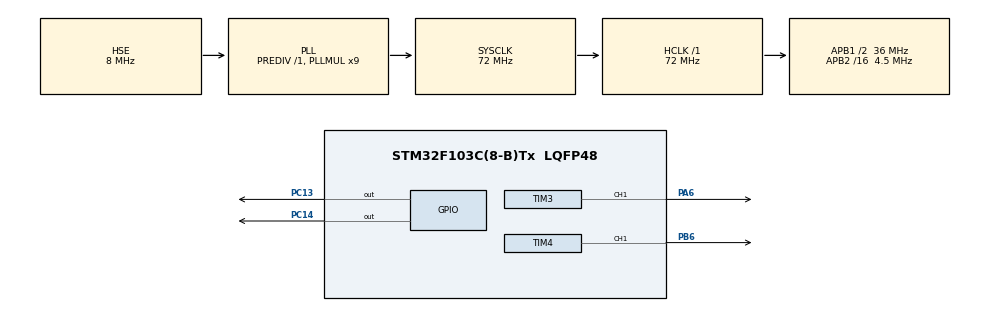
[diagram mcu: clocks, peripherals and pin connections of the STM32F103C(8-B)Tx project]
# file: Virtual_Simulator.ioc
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Mcu.Family=STM32F1
Mcu.Name=STM32F103C(8-B)Tx
Mcu.Package=LQFP48
NVIC.PriorityGroup=NVIC_PRIORITYGROUP_4
NVIC.TIM3_IRQn=true\:0\:0\:false\:false\:true\:true\:true\:true
NVIC.TIM4_IRQn=true\:0\:0\:false\:false\:true\:true\:true\:true
PA11.Signal=CAN_RX
PA12.Signal=CAN_TX
PA13.Mode=Serial_Wire
PA13.Signal=SYS_JTMS-SWDIO
PA14.Mode=Serial_Wire
PA14.Signal=SYS_JTCK-SWCLK
PA6.Signal=S_TIM3_CH1
PB6.Signal=S_TIM4_CH1
PC13-TAMPER-RTC.GPIO_ModeDefaultOutputPP=GPIO_MODE_OUTPUT_PP
PC13-TAMPER-RTC.GPIO_Speed=GPIO_SPEED_FREQ_HIGH
PC13-TAMPER-RTC.PinState=GPIO_PIN_SET
PC13-TAMPER-RTC.Signal=GPIO_Output
PC14-OSC32_IN.GPIO_Speed=GPIO_SPEED_FREQ_HIGH
PC14-OSC32_IN.PinState=GPIO_PIN_SET
PC14-OSC32_IN.Signal=GPIO_Output
PD0-OSC_IN.Mode=HSE-External-Oscillator
PD0-OSC_IN.Signal=RCC_OSC_IN
PD1-OSC_OUT.Mode=HSE-External-Oscillator
PD1-OSC_OUT.Signal=RCC_OSC_OUT
ProjectManager.HeapSize=0x200
ProjectManager.StackSize=0x400
ProjectManager.TargetToolchain=STM32CubeIDE
RCC.AHBFreq_Value=72000000
RCC.APB1CLKDivider=RCC_HCLK_DIV2
RCC.APB1Freq_Value=36000000
RCC.APB1TimFreq_Value=72000000
RCC.APB2CLKDivider=RCC_HCLK_DIV16
RCC.APB2Freq_Value=4500000
RCC.APB2TimFreq_Value=9000000
RCC.HCLKFreq_Value=72000000
RCC.PLLMUL=RCC_PLL_MUL9
RCC.PLLSourceVirtual=RCC_PLLSOURCE_HSE
RCC.SYSCLKFreq_VALUE=72000000
RCC.SYSCLKSource=RCC_SYSCLKSOURCE_PLLCLK
RCC.USBFreq_Value=72000000
SH.S_TIM3_CH1.0=TIM3_CH1,Output Compare1 CH1
SH.S_TIM4_CH1.0=TIM4_CH1,Output Compare1 CH1
TIM3.Channel-Output\ Compare1\ CH1=TIM_CHANNEL_1
TIM4.Channel-Output\ Compare1\ CH1=TIM_CHANNEL_1
VP_TIM3_VS_ClockSourceINT.Mode=Internal
VP_TIM4_VS_ClockSourceINT.Mode=Internal
board=custom

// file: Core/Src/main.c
/* USER CODE BEGIN Header */
/**
  ******************************************************************************
  * @file           : main.c
  * @brief          : Main program body
  ******************************************************************************
  * @attention
  *
  * <h2><center>&copy; Copyright (c) 2022 STMicroelectronics.
  * All rights reserved.</center></h2>
  *
  * This software component is licensed by ST under BSD 3-Clause license,
  * the "License"; You may not use this file except in compliance with the
  * License. You may obtain a copy of the License at:
  *                        opensource.org/licenses/BSD-3-Clause
  *
  ******************************************************************************
  */
/* USER CODE END Header */
#include "main.h"
#include "functions.h"

/* USER CODE BEGIN Includes */

uint8_t cycles;  //Number of cycles with the same engine speed

/* USER CODE END Includes */

TIM_HandleTypeDef htim3;
TIM_HandleTypeDef htim4;

void SystemClock_Config(void);
static void MX_GPIO_Init(void);
static void MX_TIM3_Init(void);
static void MX_TIM4_Init(void);

int main(void)
{

  /* MCU Configuration--------------------------------------------------------*/

  /* Reset of all peripherals, Initializes the Flash interface and the Systick. */
  HAL_Init();

  /* Configure the system clock */
  SystemClock_Config();

  /* Initialize all configured peripherals */
  MX_GPIO_Init();
  MX_TIM3_Init();
  MX_TIM4_Init();
  /* USER CODE BEGIN 2 */

  //Interruption
  HAL_TIM_OC_Start_IT(&htim3, TIM_CHANNEL_1);  //Period
  HAL_TIM_OC_Start_IT(&htim4, TIM_CHANNEL_1);  //Duty pulse

  //Initialize table with engine speed target
  InitializeEngineSpeedTable();

  //Define which line will be executed firstly (to initiate the generator)
  ChangeTableLine(rpm_line);

  //Program TMR3 for the first overflow
  __HAL_TIM_SET_COUNTER(&htim3,0u);
  __HAL_TIM_SET_COMPARE(&htim3,TIM_CHANNEL_1,nTargetRemainTMR3);

  //Program TMR4 for the first overflow
  __HAL_TIM_SET_COUNTER(&htim4,0u);
  __HAL_TIM_SET_COMPARE(&htim4,TIM_CHANNEL_1,nTargetRemainTMR4);

  Set_Output(Polarity,same);

  /* USER CODE END 2 */

  /* Infinite loop */
  /* USER CODE BEGIN WHILE */
  while (1)
  {
	  //My Code...
	  if(flg_time_is_over_TMR3!=0)
	  {
		  cycles++;

		  //TMR3
		  __HAL_TIM_SET_COUNTER(&htim3,0u);
		  flg_time_is_over_TMR3=0u;

		  if(cycles>50u)
		  {
			  if(rpm_line<39u)
			  {
				  rpm_line++;
			  }
			  else
			  {
				  rpm_line=0u;
			  }

			  cycles=0u;
		  }

		  ChangeTableLine(rpm_line);
		  __HAL_TIM_SET_COMPARE(&htim3,TIM_CHANNEL_1,nTargetRemainTMR3);
		  nOverflowTMR3=0;

		  //TMR4
		  HAL_TIM_OC_Start_IT(&htim4,TIM_CHANNEL_1);
		  __HAL_TIM_SET_COUNTER(&htim4,0u);

		  Set_Output(Polarity,inverted);

		  __HAL_TIM_SET_COMPARE(&htim4,TIM_CHANNEL_1,nTargetRemainTMR4);
		  nOverflowTMR4=0u;
	  }

    /* USER CODE END WHILE */

  }
}

void SystemClock_Config(void)
{
  RCC_OscInitTypeDef RCC_OscInitStruct = {0};
  RCC_ClkInitTypeDef RCC_ClkInitStruct = {0};

  /** Initializes the RCC Oscillators according to the specified parameters
  * in the RCC_OscInitTypeDef structure.
  */
  RCC_OscInitStruct.OscillatorType = RCC_OSCILLATORTYPE_HSE;
  RCC_OscInitStruct.HSEState = RCC_HSE_ON;
  RCC_OscInitStruct.HSEPredivValue = RCC_HSE_PREDIV_DIV1;
  RCC_OscInitStruct.HSIState = RCC_HSI_ON;
  RCC_OscInitStruct.PLL.PLLState = RCC_PLL_ON;
  RCC_OscInitStruct.PLL.PLLSource = RCC_PLLSOURCE_HSE;
  RCC_OscInitStruct.PLL.PLLMUL = RCC_PLL_MUL9;
  if (HAL_RCC_OscConfig(&RCC_OscInitStruct) != HAL_OK)
  {
    Error_Handler();
  }
  /** Initializes the CPU, AHB and APB buses clocks
  */
  RCC_ClkInitStruct.ClockType = RCC_CLOCKTYPE_HCLK|RCC_CLOCKTYPE_SYSCLK
                              |RCC_CLOCKTYPE_PCLK1|RCC_CLOCKTYPE_PCLK2;
  RCC_ClkInitStruct.SYSCLKSource = RCC_SYSCLKSOURCE_PLLCLK;
  RCC_ClkInitStruct.AHBCLKDivider = RCC_SYSCLK_DIV1;
  RCC_ClkInitStruct.APB1CLKDivider = RCC_HCLK_DIV2;
  RCC_ClkInitStruct.APB2CLKDivider = RCC_HCLK_DIV16;

  if (HAL_RCC_ClockConfig(&RCC_ClkInitStruct, FLASH_LATENCY_2) != HAL_OK)
  {
    Error_Handler();
  }
}

static void MX_TIM3_Init(void)
{

  TIM_ClockConfigTypeDef sClockSourceConfig = {0};
  TIM_MasterConfigTypeDef sMasterConfig = {0};
  TIM_OC_InitTypeDef sConfigOC = {0};

  htim3.Instance = TIM3;
  htim3.Init.Prescaler = 0;
  htim3.Init.CounterMode = TIM_COUNTERMODE_UP;
  htim3.Init.Period = 65535;
  htim3.Init.ClockDivision = TIM_CLOCKDIVISION_DIV1;
  htim3.Init.AutoReloadPreload = TIM_AUTORELOAD_PRELOAD_DISABLE;
  if (HAL_TIM_Base_Init(&htim3) != HAL_OK)
  {
    Error_Handler();
  }
  sClockSourceConfig.ClockSource = TIM_CLOCKSOURCE_INTERNAL;
  if (HAL_TIM_ConfigClockSource(&htim3, &sClockSourceConfig) != HAL_OK)
  {
    Error_Handler();
  }
  if (HAL_TIM_OC_Init(&htim3) != HAL_OK)
  {
    Error_Handler();
  }
  sMasterConfig.MasterOutputTrigger = TIM_TRGO_RESET;
  sMasterConfig.MasterSlaveMode = TIM_MASTERSLAVEMODE_DISABLE;
  if (HAL_TIMEx_MasterConfigSynchronization(&htim3, &sMasterConfig) != HAL_OK)
  {
    Error_Handler();
  }
  sConfigOC.OCMode = TIM_OCMODE_TIMING;
  sConfigOC.Pulse = 0;
  sConfigOC.OCPolarity = TIM_OCPOLARITY_HIGH;
  sConfigOC.OCFastMode = TIM_OCFAST_DISABLE;
  if (HAL_TIM_OC_ConfigChannel(&htim3, &sConfigOC, TIM_CHANNEL_1) != HAL_OK)
  {
    Error_Handler();
  }
  HAL_TIM_MspPostInit(&htim3);

}

static void MX_TIM4_Init(void)
{

  TIM_ClockConfigTypeDef sClockSourceConfig = {0};
  TIM_MasterConfigTypeDef sMasterConfig = {0};
  TIM_OC_InitTypeDef sConfigOC = {0};

  htim4.Instance = TIM4;
  htim4.Init.Prescaler = 0;
  htim4.Init.CounterMode = TIM_COUNTERMODE_UP;
  htim4.Init.Period = 65535;
  htim4.Init.ClockDivision = TIM_CLOCKDIVISION_DIV1;
  htim4.Init.AutoReloadPreload = TIM_AUTORELOAD_PRELOAD_DISABLE;
  if (HAL_TIM_Base_Init(&htim4) != HAL_OK)
  {
    Error_Handler();
  }
  sClockSourceConfig.ClockSource = TIM_CLOCKSOURCE_INTERNAL;
  if (HAL_TIM_ConfigClockSource(&htim4, &sClockSourceConfig) != HAL_OK)
  {
    Error_Handler();
  }
  if (HAL_TIM_OC_Init(&htim4) != HAL_OK)
  {
    Error_Handler();
  }
  sMasterConfig.MasterOutputTrigger = TIM_TRGO_RESET;
  sMasterConfig.MasterSlaveMode = TIM_MASTERSLAVEMODE_DISABLE;
  if (HAL_TIMEx_MasterConfigSynchronization(&htim4, &sMasterConfig) != HAL_OK)
  {
    Error_Handler();
  }
  sConfigOC.OCMode = TIM_OCMODE_TIMING;
  sConfigOC.Pulse = 0;
  sConfigOC.OCPolarity = TIM_OCPOLARITY_HIGH;
  sConfigOC.OCFastMode = TIM_OCFAST_DISABLE;
  if (HAL_TIM_OC_ConfigChannel(&htim4, &sConfigOC, TIM_CHANNEL_1) != HAL_OK)
  {
    Error_Handler();
  }
  HAL_TIM_MspPostInit(&htim4);

}

static void MX_GPIO_Init(void)
{
  GPIO_InitTypeDef GPIO_InitStruct = {0};

  /* GPIO Ports Clock Enable */
  __HAL_RCC_GPIOC_CLK_ENABLE();
  __HAL_RCC_GPIOD_CLK_ENABLE();
  __HAL_RCC_GPIOA_CLK_ENABLE();
  __HAL_RCC_GPIOB_CLK_ENABLE();

  /*Configure GPIO pin Output Level */
  HAL_GPIO_WritePin(GPIOC, GPIO_PIN_13|GPIO_PIN_14, GPIO_PIN_SET);

  /*Configure GPIO pins : PC13 PC14 */
  GPIO_InitStruct.Pin = GPIO_PIN_13|GPIO_PIN_14;
  GPIO_InitStruct.Mode = GPIO_MODE_OUTPUT_PP;
  GPIO_InitStruct.Pull = GPIO_NOPULL;
  GPIO_InitStruct.Speed = GPIO_SPEED_FREQ_HIGH;
  HAL_GPIO_Init(GPIOC, &GPIO_InitStruct);

  /*Configure GPIO pin : PA11 */
  GPIO_InitStruct.Pin = GPIO_PIN_11;
  GPIO_InitStruct.Mode = GPIO_MODE_INPUT;
  GPIO_InitStruct.Pull = GPIO_NOPULL;
  HAL_GPIO_Init(GPIOA, &GPIO_InitStruct);

  /*Configure GPIO pin : PA12 */
  GPIO_InitStruct.Pin = GPIO_PIN_12;
  GPIO_InitStruct.Mode = GPIO_MODE_AF_PP;
  GPIO_InitStruct.Speed = GPIO_SPEED_FREQ_HIGH;
  HAL_GPIO_Init(GPIOA, &GPIO_InitStruct);

}

void Error_Handler(void)
{
  __disable_irq();
  while (1)
  {
  }
}

/************************ (C) COPYRIGHT STMicroelectronics *****END OF FILE****/
